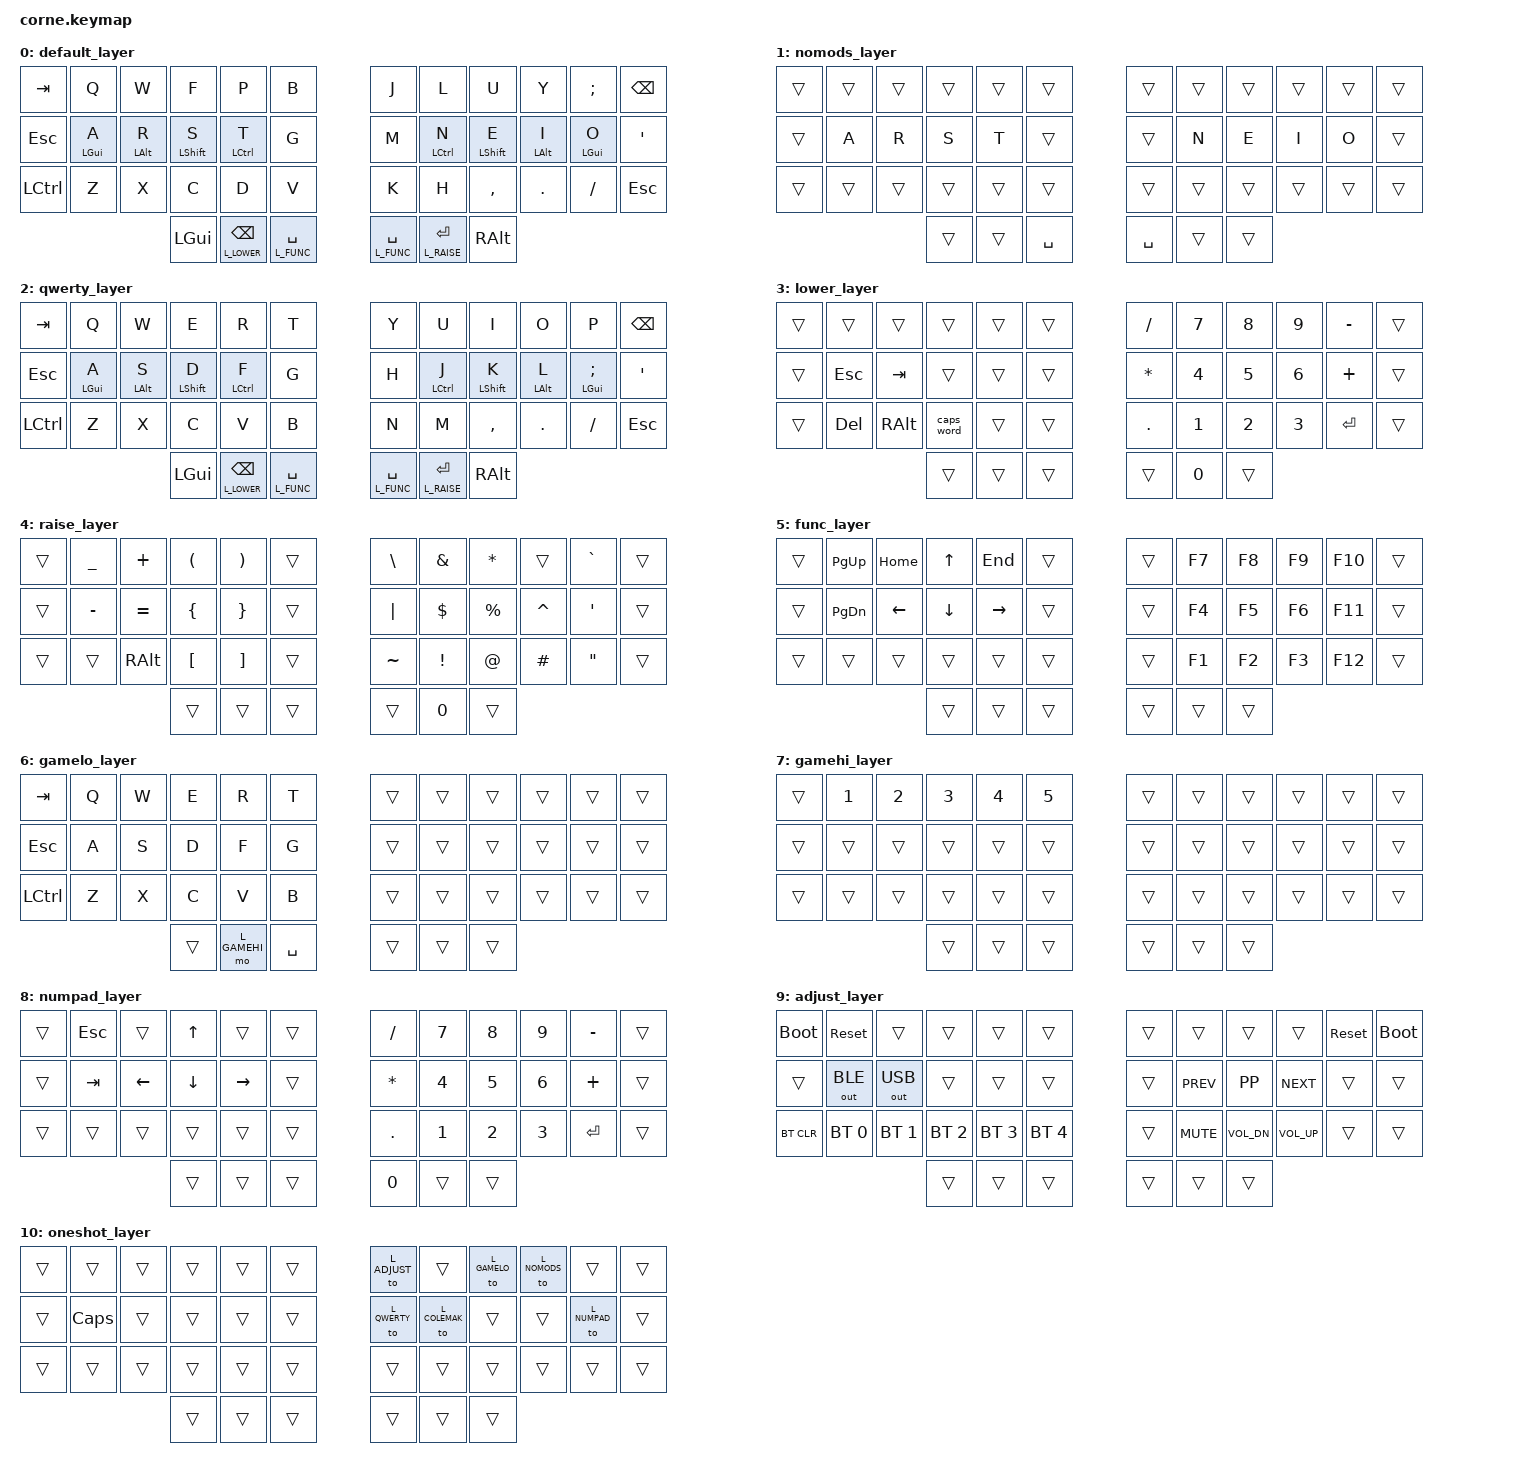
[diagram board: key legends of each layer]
/*
 * Copyright (c) 2020 The ZMK Contributors
 *
 * SPDX-License-Identifier: MIT
 */

#include <behaviors.dtsi>
#include <dt-bindings/zmk/keys.h>
#include <dt-bindings/zmk/bt.h>
#include <dt-bindings/zmk/outputs.h>

#define L_COLEMAK 0
#define L_NOMODS 1
#define L_QWERTY 2
#define L_LOWER 3
#define L_RAISE 4
#define L_FUNC 5
#define L_GAMELO 6
#define L_GAMEHI 7
#define L_NUMPAD 8
#define L_ADJUST 9
#define L_ONESHOT 10

/ {
        combos {
                compatible = "zmk,combos";
                combo_esc {
                    timeout-ms = <50>;
                    key-positions = <37 40>;
                    bindings = <&sl L_ONESHOT>;
                };
        };

        keymap {
                compatible = "zmk,keymap";

                default_layer {
// -----------------------------------------------------------------------------------------
// | TAB  |  Q  |  W  |  F  |  P  |  B  |   |  J  |  L   |  U  |  Y  |  ;  | BKSP |
// | ESC  |  A  |  R  |  S  |  T  |  G  |   |  M  |  N   |  E  |  I  |  O  |  '   |
// | CTRL |  Z  |  X  |  C  |  D  |  V  |   |  K  |  H   |  ,  |  .  |  /  | ESC  |
//                    | GUI | LWR | SPC |   | ENT | RSE  | ALT |
                        bindings = <
   &kp TAB  &kp Q      &kp W      &kp F       &kp P       &kp B   &kp J &kp L        &kp U       &kp Y      &kp SEMI   &kp BSPC
   &kp ESC  &mt LGUI A &mt LALT R &mt LSHFT S &mt LCTRL T &kp G   &kp M &mt LCTRL N  &mt LSHFT E &mt LALT I &mt LGUI O &kp SQT
   &kp LCTRL &kp Z     &kp X      &kp C       &kp D       &kp V   &kp K &kp H        &kp COMMA   &kp DOT    &kp FSLH   &kp ESC
                  &kp LGUI &lt L_LOWER BSPC &lt L_FUNC SPACE    &lt L_FUNC SPACE &lt L_RAISE RET &kp RALT
                        >;
                };

                nomods_layer {
// -----------------------------------------------------------------------------------------
// |  TAB |  1  |  2  |  3  |  4  |  5  |   |  6  |  7  |  8  |  9  |  0  | BKSP |
// | BTCLR| BT1 | BT2 | BT3 | BT4 | BT5 |   | LFT | DWN |  UP | RGT |     |      |
// | SHFT |     |     |     |     |     |   |     |     |     |     |     |      |
//                    | GUI |     | SPC |   | ENT |     | ALT |
                        bindings = <
   &trans &trans &trans &trans &trans &trans &trans &trans &trans &trans &trans &trans
   &trans &kp A  &kp R  &kp S  &kp T  &trans &trans &kp N  &kp E  &kp I  &kp O  &trans
   &trans &trans &trans &trans &trans &trans &trans &trans &trans &trans &trans &trans
                    &trans &trans &kp SPACE    &kp SPACE &trans &trans
                        >;
                };

                qwerty_layer {
                        bindings = <
   &kp TAB   &kp Q      &kp W      &kp E       &kp R       &kp T   &kp Y &kp U        &kp I       &kp O      &kp P         &kp BSPC
   &kp ESC   &mt LGUI A &mt LALT S &mt LSHFT D &mt LCTRL F &kp G   &kp H &mt LCTRL J  &mt LSHFT K &mt LALT L &mt LGUI SEMI &kp SQT
   &kp LCTRL &kp Z      &kp X      &kp C       &kp V       &kp B   &kp N &kp M        &kp COMMA   &kp DOT    &kp FSLH      &kp ESC
                  &kp LGUI &lt L_LOWER BSPC &lt L_FUNC SPACE    &lt L_FUNC SPACE &lt L_RAISE RET &kp RALT
                        >;
                };

                lower_layer {
// -----------------------------------------------------------------------------------------
// |     |     |     |     |     |     |   |  /  |  7  |  8  |  9  |  -  |     |
// |     | ESC | TAB |     |     |     |   |  *  |  4  |  5  |  6  |  +  |     |
// |     | DEL | RALT| CW  |     |     |   |  .  |  1  |  2  |  3  | RET |     |
//                    |     |     |     |   |     |     |     |
                        bindings = <
   &trans   &trans   &trans   &trans   &trans   &trans        &kp FSLH &kp N7   &kp N8   &kp N9   &kp MINUS &trans
   &trans   &kp ESC  &kp TAB  &trans   &trans   &trans        &kp STAR &kp N4   &kp N5   &kp N6   &kp PLUS  &trans
   &trans   &kp DEL  &kp RALT &caps_word &trans &trans        &kp DOT  &kp N1   &kp N2   &kp N3   &kp RET   &trans
                              &trans   &trans   &trans        &trans   &kp N0   &trans
                        >;
                };

                raise_layer {
// -----------------------------------------------------------------------------------------
// |     |  _  |  +  |  (  |  )  |     |   |  \  |  &  |  *  |     |  `  |     |
// |     |  -  |  =  |  {  |  }  |     |   |  |  |  $  |  %  |  ^  |  '  |     |
// |     |     | RALT|  [  |  ]  |     |   |  ~  |  !  |  @  |  #  |  "  |     |
//                    |     |     |     |   |     |     |     |
                        bindings = <
   &trans  &kp UNDER &kp PLUS  &kp LPAR &kp RPAR &trans        &kp BSLH  &kp AMPS &kp STAR  &trans    &kp GRAVE &trans
   &trans  &kp MINUS &kp EQUAL &kp LBRC &kp RBRC &trans        &kp PIPE  &kp DLLR &kp PRCNT &kp CARET &kp SQT   &trans
   &trans  &trans    &kp RALT  &kp LBKT &kp RBKT &trans        &kp TILDE &kp EXCL &kp AT    &kp HASH  &kp DQT   &trans
                              &trans   &trans   &trans        &trans   &kp N0   &trans
                        >;
                };

                func_layer {
// -----------------------------------------------------------------------------------------
// |      | PGUP | HOME |  UP  | END  |      |   |      |  F7  |  F8  |  F9  |  F10 |      |
// |      | PGDN | LEFT | DOWN | RGHT |      |   |      |  F4  |  F5  |  F6  |  F11 |      |
// |      |      |      |      |      |      |   |      |  F1  |  F2  |  F3  |  F12 |      |
//                      |      |      |      |   |      |      |      |
                        bindings = <
   &trans  &kp PG_UP &kp HOME &kp UP   &kp END   &trans      &trans   &kp F7   &kp F8   &kp F9   &kp F10  &trans
   &trans  &kp PG_DN &kp LEFT &kp DOWN &kp RIGHT &trans      &trans   &kp F4   &kp F5   &kp F6   &kp F11  &trans
   &trans  &trans    &trans   &trans   &trans    &trans      &trans   &kp F1   &kp F2   &kp F3   &kp F12  &trans
                              &trans   &trans    &trans      &trans   &trans   &trans
                        >;
                };

                gamelo_layer {
                        bindings = <
   &kp TAB   &kp Q   &kp W   &kp E   &kp R   &kp T         &trans  &trans  &trans  &trans  &trans  &trans
   &kp ESC   &kp A   &kp S   &kp D   &kp F   &kp G         &trans  &trans  &trans  &trans  &trans  &trans
   &kp LCTRL &kp Z   &kp X   &kp C   &kp V   &kp B         &trans  &trans  &trans  &trans  &trans  &trans
                    &trans  &mo L_GAMEHI &kp SPACE         &trans  &trans  &trans
                        >;
                };

                gamehi_layer {
                        bindings = <
   &trans  &kp 1   &kp 2   &kp 3   &kp 4   &kp 5           &trans  &trans  &trans  &trans  &trans  &trans
   &trans  &trans  &trans  &trans  &trans  &trans          &trans  &trans  &trans  &trans  &trans  &trans
   &trans  &trans  &trans  &trans  &trans  &trans          &trans  &trans  &trans  &trans  &trans  &trans
                           &trans  &trans  &trans          &trans  &trans  &trans
                        >;
                };

                numpad_layer {
                        bindings = <
   &trans    &kp ESC   &trans    &kp UP    &trans     &trans          &kp FSLH  &kp N7    &kp N8    &kp N9    &kp MINUS &trans
   &trans    &kp TAB   &kp LEFT  &kp DOWN  &kp RIGHT  &trans          &kp STAR  &kp N4    &kp N5    &kp N6    &kp PLUS  &trans
   &trans    &trans    &trans    &trans    &trans     &trans          &kp DOT   &kp N1    &kp N2    &kp N3    &kp RET   &trans
                                   &trans   &trans    &trans          &kp N0   &trans    &trans
                        >;
                };

                adjust_layer {
                        bindings = <
   &bootloader &sys_reset   &trans       &trans       &trans        &trans          &trans   &trans     &trans       &trans       &sys_reset &bootloader
   &trans      &out OUT_BLE &out OUT_USB &trans       &trans        &trans          &trans   &kp K_PREV &kp K_PP     &kp K_NEXT   &trans     &trans
   &bt BT_CLR  &bt BT_SEL 0 &bt BT_SEL 1 &bt BT_SEL 2 &bt BT_SEL 3  &bt BT_SEL 4    &trans   &kp K_MUTE &kp K_VOL_DN &kp K_VOL_UP &trans     &trans
                              &trans   &trans    &trans      &trans   &trans   &trans
                        >;
                };

                oneshot_layer {
                        bindings = <
   &trans  &trans   &trans   &trans   &trans   &trans      &to L_ADJUST &trans        &to L_GAMELO &to L_NOMODS &trans       &trans
   &trans  &kp CAPS &trans   &trans   &trans   &trans      &to L_QWERTY &to L_COLEMAK &trans       &trans       &to L_NUMPAD &trans
   &trans  &trans   &trans   &trans   &trans   &trans      &trans       &trans        &trans       &trans       &trans       &trans
                             &trans   &trans   &trans      &trans   &trans    &trans
                        >;
                };
        };
};
